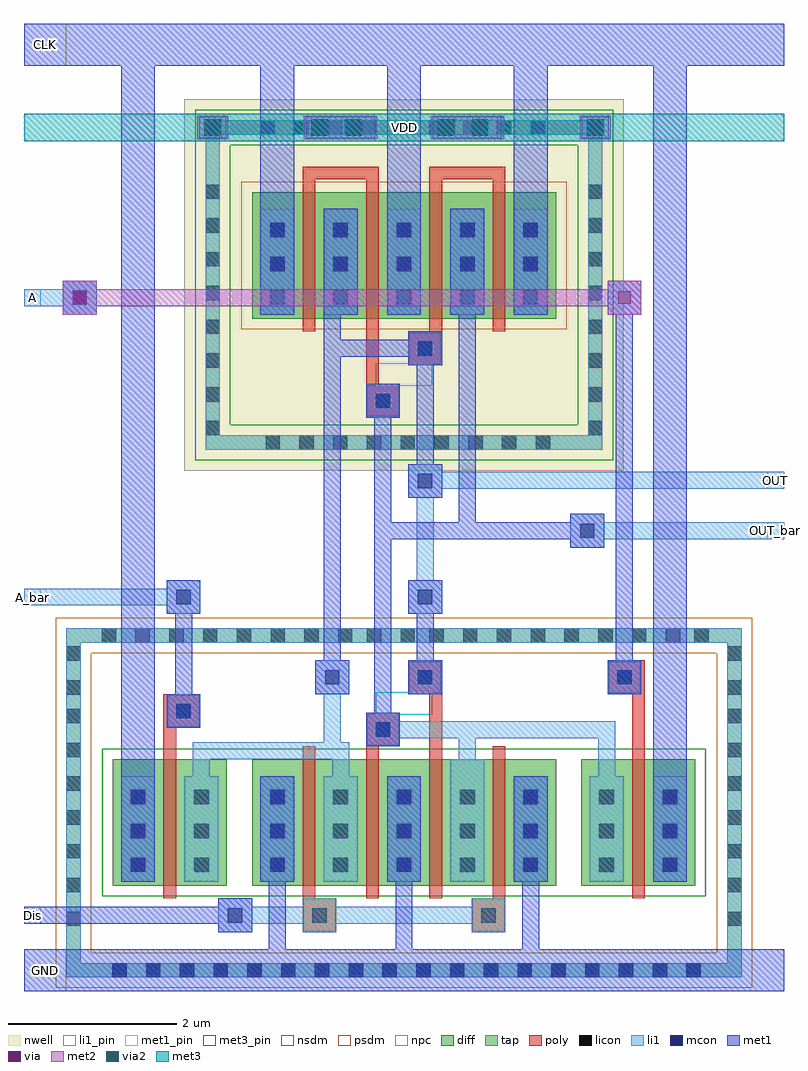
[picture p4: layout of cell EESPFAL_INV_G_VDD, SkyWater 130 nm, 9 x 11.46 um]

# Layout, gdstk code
import gdstk
lib = gdstk.Library(unit=1e-6, precision=1e-09)
def R(c, l, rs):  # rectangles x0, y0, x1, y1
    for r in rs: c.add(gdstk.rectangle(r[:2], r[2:], *l))
def A(c, l, x, y, w, h, nx, ny, dx, dy):  # array of equal rectangles
    R(c, l, [(x+i*dx, y+j*dy, x+i*dx+w, y+j*dy+h) for i in range(nx) for j in range(ny)])
nwell = (64, 20)
diff = (65, 20)
tap = (65, 44)
poly = (66, 20)
licon = (66, 44)
li1_pin = (67, 16)
li1 = (67, 20)
mcon = (67, 44)
met1_pin = (68, 16)
met1 = (68, 20)
via = (68, 44)
met2 = (69, 20)
via2 = (69, 44)
met3_pin = (70, 16)
met3 = (70, 20)
nsdm = (93, 44)
psdm = (94, 20)
npc = (95, 20)

eespfal_inv_g_vdd = lib.new_cell('EESPFAL_INV_G_VDD')
R(eespfal_inv_g_vdd, nwell, [(-15.8,8.87,-10.6,13.27)])
R(eespfal_inv_g_vdd, diff, [(-16.65,3.955,-15.3,5.455), (-15,3.955,-11.4,5.455), (-11.1,3.955,-9.75,5.455), (-15,10.67,-11.4,12.17)])
R(eespfal_inv_g_vdd, tap, [(-17.2,2.87,-9.2,3.04), (-17.2,3.04,-17.03,6.835), (-9.37,3.04,-9.2,6.835), (-17.2,6.835,-9.2,7.005), (-15.55,9.12,-10.85,9.29), (-15.55,9.29,-15.38,12.85), (-11.02,9.29,-10.85,12.85), (-15.55,12.85,-10.85,13.02)])
R(eespfal_inv_g_vdd, poly, [(-14.4,3.405,-14,3.805), (-12.4,3.405,-12,3.805), (-16.05,3.805,-15.9,5.825), (-14.4,3.805,-14.25,5.605), (-13.65,3.805,-13.5,5.605), (-12.9,3.805,-12.75,6.225), (-12.15,3.805,-12,5.605), (-10.5,3.805,-10.35,6.225), (-13.65,5.605,-13.25,6.005), (-16.05,5.825,-15.61,6.225), (-13.15,6.225,-12.75,6.625), (-10.79,6.225,-10.35,6.625), (-13.65,9.5,-13.25,9.9), (-13.65,9.9,-13.5,12.32), (-13.15,10.12,-12.75,10.52), (-14.4,10.52,-14.25,12.32), (-12.9,10.52,-12.75,12.32), (-12.15,10.52,-12,12.32), (-14.4,12.32,-13.5,12.47), (-12.9,12.32,-12,12.47)])
A(eespfal_inv_g_vdd, licon, -16.655, 2.87, 0.17, 0.17, 18, 1, 0.4, 0)
A(eespfal_inv_g_vdd, licon, -17.2, 3.48, 0.17, 0.17, 1, 7, 0, 0.4)
A(eespfal_inv_g_vdd, licon, -9.37, 3.48, 0.17, 0.17, 1, 7, 0, 0.4)
A(eespfal_inv_g_vdd, licon, -16.435, 4.12, 0.17, 0.17, 1, 3, 0, 0.4)
A(eespfal_inv_g_vdd, licon, -15.685, 4.12, 0.17, 0.17, 1, 3, 0, 0.4)
A(eespfal_inv_g_vdd, licon, -14.785, 4.12, 0.17, 0.17, 5, 3, 0.75, 0.4)
A(eespfal_inv_g_vdd, licon, -10.885, 4.12, 0.17, 0.17, 1, 3, 0, 0.4)
A(eespfal_inv_g_vdd, licon, -10.135, 4.12, 0.17, 0.17, 1, 3, 0, 0.4)
A(eespfal_inv_g_vdd, licon, -16.78, 6.835, 0.17, 0.17, 8, 1, 0.4, 0)
A(eespfal_inv_g_vdd, licon, -12.9, 6.835, 0.17, 0.17, 8, 1, 0.4, 0)
A(eespfal_inv_g_vdd, licon, -14.84, 9.12, 0.17, 0.17, 9, 1, 0.4, 0)
A(eespfal_inv_g_vdd, licon, -15.55, 9.29, 0.17, 0.17, 1, 8, 0, 0.4)
A(eespfal_inv_g_vdd, licon, -11.02, 9.29, 0.17, 0.17, 1, 8, 0, 0.4)
A(eespfal_inv_g_vdd, licon, -14.785, 10.835, 0.17, 0.17, 5, 3, 0.75, 0.4)
A(eespfal_inv_g_vdd, licon, -14.9, 12.85, 0.17, 0.17, 9, 1, 0.4, 0)
R(eespfal_inv_g_vdd, licon, [(-14.285,3.52,-14.115,3.69), (-12.285,3.52,-12.115,3.69), (-13.535,5.72,-13.365,5.89), (-15.895,5.94,-15.725,6.11), (-17.2,6.22,-17.03,6.39), (-9.37,6.22,-9.2,6.39), (-13.035,6.34,-12.865,6.51), (-10.675,6.34,-10.505,6.51), (-17.2,6.62,-17.03,6.79), (-9.37,6.62,-9.2,6.79), (-13.64,6.835,-13.47,7.005), (-13.24,6.835,-13.07,7.005), (-9.76,6.835,-9.59,7.005), (-13.535,9.615,-13.365,9.785), (-13.035,10.235,-12.865,10.405)])
R(eespfal_inv_g_vdd, li1_pin, [(-17.7,7.275,-17.5,7.475), (-8.9,8.06,-8.7,8.26), (-8.9,8.66,-8.7,8.86), (-17.7,10.82,-17.5,11.02)])
A(eespfal_inv_g_vdd, li1, -14.9, 4.005, 0.4, 1.25, 3, 1, 0.75, 0)
A(eespfal_inv_g_vdd, li1, -14.9, 10.72, 0.4, 1.25, 5, 1, 0.75, 0)
R(eespfal_inv_g_vdd, li1, [(-17.2,2.87,-9.2,3.04), (-17.2,3.04,-17.03,6.835), (-9.37,3.04,-9.2,6.835), (-15.4,3.405,-15,3.505), (-14.4,3.405,-14,3.505), (-12.4,3.405,-12,3.505), (-15.4,3.505,-12,3.705), (-15.4,3.705,-15,3.805), (-14.4,3.705,-14,3.805), (-12.4,3.705,-12,3.805), (-16.55,4.005,-16.15,5.255), (-15.8,4.005,-15.4,5.255), (-12.65,4.005,-12.25,5.455), (-11.9,4.005,-11.5,5.255), (-11,4.005,-10.6,5.255), (-10.25,4.005,-9.85,5.255), (-15.7,5.255,-15.5,5.455), (-14.05,5.255,-13.85,5.455), (-10.9,5.255,-10.7,5.705), (-15.7,5.455,-13.85,5.655), (-12.55,5.455,-12.35,5.705), (-13.65,5.605,-13.25,5.705), (-14.15,5.655,-13.95,6.225), (-13.65,5.705,-10.7,5.905), (-16.01,5.825,-15.61,6.225), (-13.65,5.905,-13.25,6.005), (-14.25,6.225,-13.85,6.625), (-13.15,6.225,-12.75,6.625), (-10.79,6.225,-10.39,6.625), (-17.2,6.835,-9.2,7.005), (-16.01,7.175,-15.61,7.275), (-13.15,7.175,-12.75,7.575), (-17.7,7.275,-15.61,7.475), (-16.01,7.475,-15.61,7.575), (-13.05,7.575,-12.85,8.55), (-11.23,7.96,-10.83,8.06), (-11.23,8.06,-8.7,8.26), (-11.23,8.26,-10.83,8.36), (-13.15,8.55,-12.75,8.66), (-13.15,8.66,-8.7,8.86), (-13.15,8.86,-12.75,8.95), (-15.55,9.12,-10.85,9.29), (-15.55,9.29,-15.38,12.85), (-11.02,9.29,-10.85,12.85), (-13.65,9.5,-13.25,9.9), (-13.15,10.12,-12.75,10.52), (-17.24,10.72,-16.84,10.82), (-17.7,10.82,-16.84,11.02), (-17.24,11.02,-16.84,11.12), (-15.55,12.85,-10.85,13.02)])
A(eespfal_inv_g_vdd, mcon, -16.655, 2.87, 0.17, 0.17, 18, 1, 0.4, 0)
A(eespfal_inv_g_vdd, mcon, -16.435, 4.12, 0.17, 0.17, 1, 3, 0, 0.4)
A(eespfal_inv_g_vdd, mcon, -14.785, 4.12, 0.17, 0.17, 3, 3, 1.5, 0.4)
A(eespfal_inv_g_vdd, mcon, -10.135, 4.12, 0.17, 0.17, 1, 3, 0, 0.4)
A(eespfal_inv_g_vdd, mcon, -14.785, 10.835, 0.17, 0.17, 5, 3, 0.75, 0.4)
R(eespfal_inv_g_vdd, mcon, [(-15.285,3.52,-15.115,3.69), (-13.535,5.72,-13.365,5.89), (-15.895,5.94,-15.725,6.11), (-14.135,6.34,-13.965,6.51), (-13.035,6.34,-12.865,6.51), (-10.675,6.34,-10.505,6.51), (-15.895,7.29,-15.725,7.46), (-13.035,7.29,-12.865,7.46), (-11.115,8.075,-10.945,8.245), (-13.035,8.665,-12.865,8.835), (-13.535,9.615,-13.365,9.785), (-13.035,10.235,-12.865,10.405), (-17.125,10.835,-16.955,11.005), (-15.55,12.85,-15.38,13.02), (-14.285,12.85,-14.115,13.02), (-13.885,12.85,-13.715,13.02), (-12.785,12.85,-12.615,13.02), (-12.385,12.85,-12.215,13.02), (-11.02,12.85,-10.85,13.02)])
R(eespfal_inv_g_vdd, met1_pin, [(-17.7,2.705,-17.2,3.205), (-17.7,3.505,-17.5,3.705), (-17.7,13.665,-17.2,14.165)])
A(eespfal_inv_g_vdd, met1, -14.8, 3.205, 0.2, 0.8, 3, 1, 1.5, 0)
A(eespfal_inv_g_vdd, met1, -14.9, 4.005, 0.4, 1.25, 3, 1, 1.5, 0)
A(eespfal_inv_g_vdd, met1, -14.9, 10.72, 0.4, 2.945, 3, 1, 1.5, 0)
R(eespfal_inv_g_vdd, met1, [(-17.7,2.705,-8.7,3.205), (-15.4,3.405,-15,3.505), (-17.7,3.505,-15,3.705), (-15.4,3.705,-15,3.805), (-16.55,4.005,-16.15,13.665), (-10.25,4.005,-9.85,13.665), (-13.65,5.605,-13.25,6.005), (-16.01,5.825,-15.61,6.225), (-13.55,6.005,-13.35,8.06), (-15.91,6.225,-15.71,7.175), (-14.25,6.225,-13.85,6.625), (-13.15,6.225,-12.75,6.625), (-10.79,6.225,-10.39,6.625), (-14.15,6.625,-13.95,10.22), (-13.05,6.625,-12.85,7.175), (-10.69,6.625,-10.49,10.72), (-16.01,7.175,-15.61,7.575), (-13.15,7.175,-12.75,7.575), (-11.23,7.96,-10.83,8.06), (-13.55,8.06,-10.83,8.26), (-13.55,8.26,-13.35,9.5), (-12.55,8.26,-12.35,10.72), (-11.23,8.26,-10.83,8.36), (-13.15,8.55,-12.75,8.95), (-13.05,8.95,-12.85,10.12), (-13.65,9.5,-13.25,9.9), (-13.15,10.12,-12.75,10.22), (-14.15,10.22,-12.75,10.42), (-14.15,10.42,-13.95,10.72), (-13.15,10.42,-12.75,10.52), (-17.24,10.72,-16.84,11.12), (-14.15,10.72,-13.75,11.97), (-12.65,10.72,-12.25,11.97), (-10.79,10.72,-10.39,11.12), (-15.625,12.805,-15.305,13.065), (-14.36,12.805,-13.54,13.065), (-12.86,12.805,-12.04,13.065), (-11.095,12.805,-10.775,13.065), (-17.7,13.665,-8.7,14.165)])
R(eespfal_inv_g_vdd, via, [(-17.115,10.845,-16.965,10.995), (-10.665,10.845,-10.515,10.995), (-15.54,12.86,-15.39,13.01), (-14.275,12.86,-14.125,13.01), (-13.875,12.86,-13.725,13.01), (-12.775,12.86,-12.625,13.01), (-12.375,12.86,-12.225,13.01), (-11.01,12.86,-10.86,13.01)])
R(eespfal_inv_g_vdd, met2, [(-17.24,10.72,-16.84,10.82), (-10.79,10.72,-10.39,10.82), (-17.24,10.82,-10.39,11.02), (-17.24,11.02,-16.84,11.12), (-10.79,11.02,-10.39,11.12), (-15.65,12.795,-15.28,13.075), (-14.385,12.795,-13.515,13.075), (-12.885,12.795,-12.015,13.075), (-11.12,12.795,-10.75,13.075)])
R(eespfal_inv_g_vdd, via2, [(-15.565,12.835,-15.365,13.035), (-14.3,12.835,-14.1,13.035), (-13.9,12.835,-13.7,13.035), (-12.8,12.835,-12.6,13.035), (-12.4,12.835,-12.2,13.035), (-11.035,12.835,-10.835,13.035)])
R(eespfal_inv_g_vdd, met3_pin, [(-17.7,12.77,-8.7,13.1)])
R(eespfal_inv_g_vdd, met3, [(-17.7,12.77,-8.7,13.1)])
R(eespfal_inv_g_vdd, nsdm, [(-16.775,3.83,-9.625,5.58), (-15.675,8.995,-10.725,9.415), (-15.675,9.415,-15.255,12.725), (-11.145,9.415,-10.725,12.725), (-15.675,12.725,-10.725,13.145)])
R(eespfal_inv_g_vdd, psdm, [(-17.325,2.745,-9.075,3.165), (-17.325,3.165,-16.905,6.71), (-9.495,3.165,-9.075,6.71), (-17.325,6.71,-9.075,7.13), (-15.125,10.545,-11.275,12.295)])
R(eespfal_inv_g_vdd, npc, [(-14.385,3.42,-14.015,3.79), (-12.385,3.42,-12.015,3.79), (-13.635,5.62,-13.265,5.98), (-15.995,5.84,-15.625,6.21), (-13.635,5.98,-12.865,5.99), (-13.535,5.99,-12.865,6.24), (-13.535,6.24,-12.765,6.25), (-10.775,6.24,-10.405,6.61), (-13.135,6.25,-12.765,6.61), (-13.635,9.515,-13.265,9.875), (-13.635,9.875,-12.865,9.885), (-13.535,9.885,-12.865,10.135), (-13.535,10.135,-12.765,10.145), (-13.135,10.145,-12.765,10.505)])
eespfal_inv_g_vdd.add(gdstk.Label('A_bar', (-17.6,7.375), layer=67, texttype=5))
eespfal_inv_g_vdd.add(gdstk.Label('A', (-17.6,10.92), layer=67, texttype=5))
eespfal_inv_g_vdd.add(gdstk.Label('OUT', (-8.8,8.76), layer=67, texttype=5))
eespfal_inv_g_vdd.add(gdstk.Label('OUT_bar', (-8.8,8.16), layer=67, texttype=5))
eespfal_inv_g_vdd.add(gdstk.Label('VDD', (-13.2,12.935), layer=70, texttype=5))
eespfal_inv_g_vdd.add(gdstk.Label('Dis', (-17.6,3.605), layer=68, texttype=5))
eespfal_inv_g_vdd.add(gdstk.Label('GND', (-17.45,2.955), layer=68, texttype=5))
eespfal_inv_g_vdd.add(gdstk.Label('CLK', (-17.45,13.915), layer=68, texttype=5))

lib.write_gds('EESPFAL_INV_G_VDD.gds')
